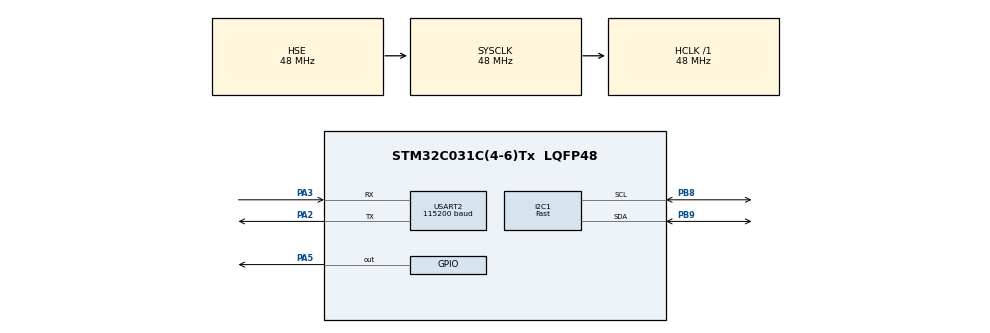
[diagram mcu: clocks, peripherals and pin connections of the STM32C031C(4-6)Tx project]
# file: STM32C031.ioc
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I2C1.I2C_Speed_Mode=I2C_Fast
I2C1.OwnAddress=I2C_ADDRESS
I2C1.Timing=0x2010091A
Mcu.Family=STM32C0
Mcu.Name=STM32C031C(4-6)Tx
Mcu.Package=LQFP48
Mcu.UserConstants=I2C_ADDRESS,0x05
NVIC.I2C1_IRQn=true\:0\:0\:false\:false\:true\:true\:true\:true
NVIC.USART2_IRQn=true\:0\:0\:false\:false\:true\:true\:true\:true
PA2.Mode=Asynchronous
PA2.Signal=USART2_TX
PA3.Mode=Asynchronous
PA3.Signal=USART2_RX
PA5.Signal=GPIO_Output
PB8.Mode=I2C
PB8.Signal=I2C1_SCL
PB9.Mode=I2C
PB9.Signal=I2C1_SDA
PC14-OSCX_IN\ (PC14).Mode=LSE-External-Oscillator
PC14-OSCX_IN\ (PC14).Signal=RCC_OSCX_IN
PC15-OSCX_OUT\ (PC15).Mode=LSE-External-Oscillator
PC15-OSCX_OUT\ (PC15).Signal=RCC_OSCX_OUT
PF0-OSC_IN\ (PF0).Mode=HSE-External-Oscillator
PF0-OSC_IN\ (PF0).Signal=RCC_OSC_IN
PF1-OSC_OUT\ (PF1).Mode=HSE-External-Oscillator
PF1-OSC_OUT\ (PF1).Signal=RCC_OSC_OUT
ProjectManager.HeapSize=0x0800
ProjectManager.StackSize=0x1000
ProjectManager.TargetToolchain=STM32CubeIDE
RCC.ADCFreq_Value=48000000
RCC.AHBFreq_Value=48000000
RCC.CortexFreq_Value=48000000
RCC.EXTERNAL_CLOCK_VALUE=12288000
RCC.HCLKFreq_Value=48000000
RCC.HSE_VALUE=48000000
RCC.HSISYSCLKDivider=RCC_HSI_DIV1
RCC.HSI_VALUE=48000000
RCC.SYSCLKFreq_VALUE=48000000
RCC.SYSCLKSource=RCC_SYSCLKSOURCE_HSE
USART2.BaudRate=115200
USART2.Mode=MODE_TX_RX
USART2.OneBitSampling=UART_ONE_BIT_SAMPLE_DISABLE
USART2.OverSampling=UART_OVERSAMPLING_16
USART2.Parity=PARITY_EVEN
USART2.VirtualMode-Asynchronous=VM_ASYNC
USART2.WordLength=WORDLENGTH_9B
board=custom

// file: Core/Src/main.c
/* USER CODE BEGIN Header */
/**
 ******************************************************************************
 * @file           : main.c
 * @brief          : Main program body
 ******************************************************************************
 * @attention
 *
 * Copyright (c) 2024 STMicroelectronics.
 * All rights reserved.
 *
 * This software is licensed under terms that can be found in the LICENSE file
 * in the root directory of this software component.
 * If no LICENSE file comes with this software, it is provided AS-IS.
 *
 ******************************************************************************
 */
/* USER CODE END Header */
#include "main.h"
#include "i2c.h"
#include "usart.h"
#include "gpio.h"

/* USER CODE BEGIN Includes */
#include <stdio.h>
/* USER CODE END Includes */

void SystemClock_Config(void);
/* USER CODE BEGIN PFP */
#if defined(__GNUC__) && !defined(__clang__)
/* With GCC, small printf (option LD Linker->Libraries->Small printf
   set to 'Yes') calls __io_putchar() */
#define PUTCHAR_PROTOTYPE int __io_putchar(int ch)
#else
#define PUTCHAR_PROTOTYPE int fputc(int ch, FILE *f)
#endif
/**
 * @brief  Retargets the C library printf function to the USART.
 * @param  None
 * @retval None
 */
PUTCHAR_PROTOTYPE
{
  /* Place your implementation of fputc here */
  /* e.g. write a character to the USART2 and Loop until the end of transmission */
  HAL_UART_Transmit(&huart2, (uint8_t *)&ch, 1, 0xFFFF);

  return ch;
}
/* USER CODE END PFP */

/* USER CODE BEGIN 0 */

#define USART_REC_LEN 256
uint8_t USART2_RX_CNT = 0;            // 接收缓冲计数
uint8_t aRxBuffer;                    // 接收缓冲中断
uint8_t USART2_RX_BUF[USART_REC_LEN]; // 接收缓冲,最大USART_REC_LEN个字节.（一般给200，接收数据量大就增加）
uint16_t USART2_RX_STA;               // 接收状态标记
uint8_t cAlmStr[] = "DataOverflow(>256)";

/* USER CODE END 0 */

int main(void)
{

  /* MCU Configuration--------------------------------------------------------*/

  /* Reset of all peripherals, Initializes the Flash interface and the Systick. */
  HAL_Init();

  /* Configure the system clock */
  SystemClock_Config();

  /* Initialize all configured peripherals */
  MX_GPIO_Init();
  MX_USART2_UART_Init();
  MX_I2C1_Init();
  /* USER CODE BEGIN 2 */
  // 接收中断函数
  HAL_UART_Receive_IT(&huart2, (uint8_t *)&aRxBuffer, 1);
  uint32_t i = 0;
  /* USER CODE END 2 */

  /* Infinite loop */
  while (1)
  {

    /* USER CODE BEGIN 3 */
    i++;
    if (i > 5000)
    {

     // HAL_UART_Transmit(&huart2, "ok\r\n", strlen("ok\r\n"), 0xFFFF);
      i = 0;
    }
    HAL_GPIO_TogglePin(GPIOA, GPIO_PIN_5);
printf("hello world! \n");
    // HAL_Delay(200);
    //  HAL_UART_Transmit(&huart2, "ok\r\n", strlen("ok\r\n"), 0xFFFF);
HAL_Delay(2000); // 中文显示
  }
  /* USER CODE END 3 */
}

void SystemClock_Config(void)
{
  RCC_OscInitTypeDef RCC_OscInitStruct = {0};
  RCC_ClkInitTypeDef RCC_ClkInitStruct = {0};

  /** Initializes the RCC Oscillators according to the specified parameters
  * in the RCC_OscInitTypeDef structure.
  */
  RCC_OscInitStruct.OscillatorType = RCC_OSCILLATORTYPE_HSE;
  RCC_OscInitStruct.HSEState = RCC_HSE_ON;
  if (HAL_RCC_OscConfig(&RCC_OscInitStruct) != HAL_OK)
  {
    Error_Handler();
  }

  /** Initializes the CPU, AHB and APB buses clocks
  */
  RCC_ClkInitStruct.ClockType = RCC_CLOCKTYPE_HCLK|RCC_CLOCKTYPE_SYSCLK
                              |RCC_CLOCKTYPE_PCLK1;
  RCC_ClkInitStruct.SYSCLKSource = RCC_SYSCLKSOURCE_HSE;
  RCC_ClkInitStruct.SYSCLKDivider = RCC_SYSCLK_DIV1;
  RCC_ClkInitStruct.AHBCLKDivider = RCC_HCLK_DIV1;
  RCC_ClkInitStruct.APB1CLKDivider = RCC_APB1_DIV1;

  if (HAL_RCC_ClockConfig(&RCC_ClkInitStruct, FLASH_LATENCY_1) != HAL_OK)
  {
    Error_Handler();
  }
}

/* USER CODE BEGIN 4 */

void HAL_UART_RxCpltCallback(UART_HandleTypeDef *huart)
{
  static uint8_t i = 0;
  static uint8_t cnt = 0;
  if (USART2_RX_CNT >= 255) // 溢出判断
  {
    USART2_RX_CNT = 0;
    memset(USART2_RX_BUF, 0x00, sizeof(USART2_RX_BUF));
    HAL_UART_Transmit(&huart2, (uint8_t *)&cAlmStr, sizeof(cAlmStr), 0xFFFF);
  }
  else
  {
    USART2_RX_BUF[USART2_RX_CNT++] = aRxBuffer; // 接收数据转存
    // if ((USART2_RX_BUF[USART2_RX_CNT - 1] == 0x0A) || (USART2_RX_BUF[USART2_RX_CNT - 2] == 0x0D)) // 判断
    if (USART2_RX_CNT > 10)
    {
      HAL_UART_Transmit(&huart2, (uint8_t *)&USART2_RX_BUF, USART2_RX_CNT, 0xFFFF); // 将收到的
      USART2_RX_CNT = 0;
      memset(USART2_RX_BUF, 0x00, sizeof(USART2_RX_BUF)); // 清空数组
    }
  }
  HAL_UART_Receive_IT(&huart2, (uint8_t *)&aRxBuffer, 1); // 再开启接收中断
}

/* USER CODE END 4 */

void Error_Handler(void)
{
  __disable_irq();
  while (1)
  {
  }
}
